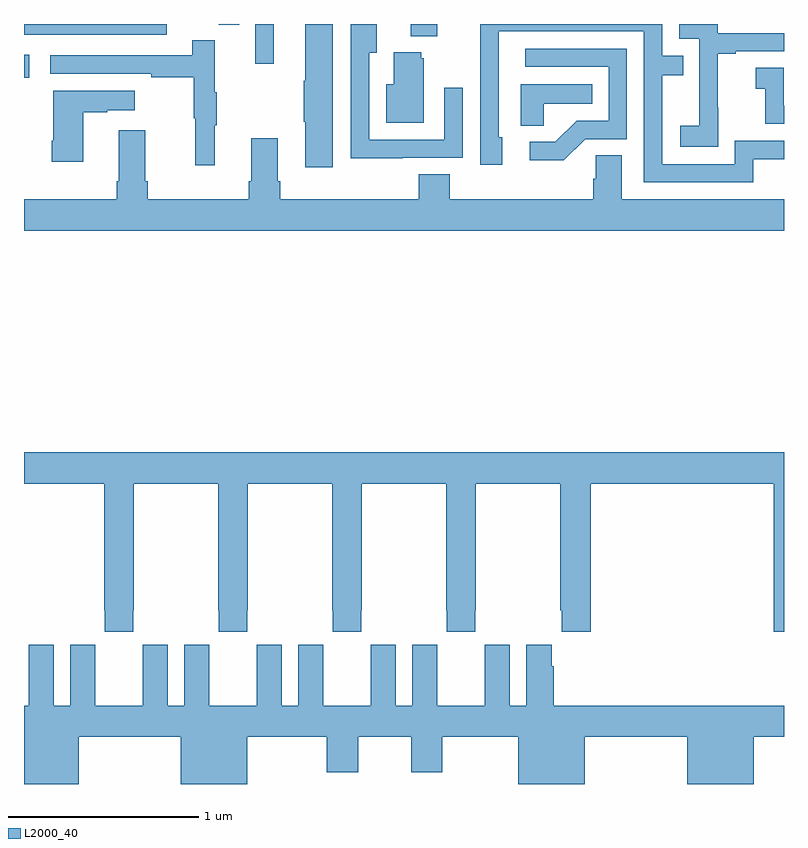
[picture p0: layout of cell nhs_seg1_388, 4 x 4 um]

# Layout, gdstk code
import gdstk
lib = gdstk.Library(unit=1e-6, precision=1e-09)
def R(c, l, rs):  # rectangles x0, y0, x1, y1
    for r in rs: c.add(gdstk.rectangle(r[:2], r[2:], *l))
def P(c, l, *ps):  # polygons
    for p in ps: c.add(gdstk.Polygon(p, *l))
L2000_40 = (2000, 40)

nhs_seg1_388 = lib.new_cell('nhs_seg1_388')
R(nhs_seg1_388, L2000_40, [(133,505.917,133.027,506.038), (134.217,505.989,134.314,506.199), (135.035,506.135,135.175,506.199), (133,506.142,133.752,506.199), (134.024,506.194,134.132,506.199)])
P(nhs_seg1_388, L2000_40, [(136.653,505.759),(136.652,505.759),(136.652,506.043),(136.747,506.043),(136.747,506.055),(137,506.055),(137,506.151),(136.65,506.151),(136.65,506.199),(136.449,506.199),(136.449,506.121),(136.554,506.121),(136.554,505.892),(136.553,505.892),(136.553,505.663),(136.455,505.663),(136.455,505.553),(136.653,505.553)],
  [(136.837,505.488),(137,505.488),(137,505.584),(136.74,505.584),(136.74,505.461),(136.359,505.461),(136.359,505.93),(136.469,505.93),(136.469,506.031),(136.359,506.031),(136.359,506.199),(135.4,506.199),(135.4,505.951),(135.402,505.951),(135.402,505.458),(135.517,505.458),(135.517,505.602),(135.498,505.602),(135.498,506.16),(136.263,506.16),(136.263,505.365),(136.837,505.365)],
  [(134.993,505.494),(135.309,505.494),(135.309,505.864),(135.213,505.864),(135.213,505.59),(134.817,505.59),(134.817,506.047),(134.857,506.047),(134.857,506.199),(134.721,506.199),(134.721,505.493),(134.993,505.493)],
  [(134.626,506.199),(134.48,506.199),(134.48,505.901),(134.473,505.901),(134.473,505.684),(134.48,505.684),(134.48,505.446),(134.626,505.446)],
  [(134.003,505.667),(134.014,505.667),(134.014,505.841),(134.003,505.841),(134.003,506.113),(133.885,506.113),(133.885,506.034),(133.137,506.034),(133.137,505.938),(133.669,505.938),(133.669,505.918),(133.893,505.918),(133.893,505.704),(133.9,505.704),(133.9,505.455),(134.003,505.455)],
  [(135.954,505.593),(136.173,505.593),(136.173,506.07),(135.639,506.07),(135.639,505.974),(136.077,505.974),(136.077,505.689),(135.908,505.689),(135.797,505.578),(135.663,505.578),(135.663,505.481),(135.841,505.481)],
  [(135.103,506.019),(135.092,506.019),(135.092,506.05),(134.945,506.05),(134.945,505.882),(134.906,505.882),(134.906,505.679),(135.103,505.679)],
  [(137,505.77),(136.998,505.77),(136.998,505.969),(136.851,505.969),(136.851,505.859),(136.9,505.859),(136.9,505.674),(137,505.674)],
  [(135.735,505.778),(135.992,505.778),(135.992,505.882),(135.614,505.882),(135.614,505.663),(135.735,505.663)],
  [(133.312,505.735),(133.439,505.735),(133.439,505.745),(133.582,505.745),(133.582,505.849),(133.154,505.849),(133.154,505.585),(133.147,505.585),(133.147,505.473),(133.312,505.473)],
  [(137,505.276),(136.147,505.276),(136.147,505.508),(136.008,505.508),(136.008,505.385),(135.995,505.385),(135.995,505.276),(135.242,505.276),(135.242,505.409),(135.077,505.409),(135.077,505.276),(134.348,505.276),(134.348,505.372),(134.335,505.372),(134.335,505.597),(134.195,505.597),(134.195,505.372),(134.183,505.372),(134.183,505.276),(133.652,505.276),(133.652,505.372),(133.639,505.372),(133.639,505.639),(133.499,505.639),(133.499,505.372),(133.487,505.372),(133.487,505.276),(133,505.276),(133,505.112),(137,505.112)],
  [(133,503.78),(133.423,503.78),(133.423,503.113),(133.425,503.113),(133.425,503.001),(133.575,503.001),(133.575,503.113),(133.578,503.113),(133.578,503.78),(134.023,503.78),(134.023,503.113),(134.025,503.113),(134.025,503.001),(134.175,503.001),(134.175,503.113),(134.178,503.113),(134.178,503.78),(134.623,503.78),(134.623,503.113),(134.625,503.113),(134.625,503.001),(134.775,503.001),(134.775,503.113),(134.778,503.113),(134.778,503.78),(135.223,503.78),(135.223,503.113),(135.225,503.113),(135.225,503.001),(135.375,503.001),(135.375,503.113),(135.378,503.113),(135.378,503.78),(135.823,503.78),(135.823,503.113),(135.829,503.113),(135.829,503.001),(135.983,503.001),(135.983,503.78),(136.946,503.78),(136.946,503.001),(137,503.001),(137,503.944),(133,503.944)],
  [(133.288,502.448),(133.826,502.448),(133.826,502.199),(134.176,502.199),(134.176,502.448),(134.594,502.448),(134.594,502.26),(134.758,502.26),(134.758,502.448),(135.038,502.448),(135.038,502.26),(135.202,502.26),(135.202,502.448),(135.602,502.448),(135.602,502.199),(135.952,502.199),(135.952,502.448),(136.49,502.448),(136.49,502.199),(136.84,502.199),(136.84,502.448),(137,502.448),(137,502.612),(135.788,502.612),(135.788,502.82),(135.778,502.82),(135.778,502.933),(135.644,502.933),(135.644,502.612),(135.556,502.612),(135.556,502.933),(135.426,502.933),(135.426,502.82),(135.425,502.82),(135.425,502.612),(135.175,502.612),(135.175,502.82),(135.174,502.82),(135.174,502.933),(135.044,502.933),(135.044,502.612),(134.956,502.612),(134.956,502.933),(134.826,502.933),(134.826,502.82),(134.825,502.82),(134.825,502.612),(134.575,502.612),(134.575,502.82),(134.574,502.82),(134.574,502.933),(134.444,502.933),(134.444,502.612),(134.356,502.612),(134.356,502.933),(134.226,502.933),(134.226,502.82),(134.225,502.82),(134.225,502.612),(133.975,502.612),(133.975,502.82),(133.974,502.82),(133.974,502.933),(133.844,502.933),(133.844,502.612),(133.756,502.612),(133.756,502.933),(133.626,502.933),(133.626,502.82),(133.625,502.82),(133.625,502.612),(133.375,502.612),(133.375,502.82),(133.374,502.82),(133.374,502.933),(133.244,502.933),(133.244,502.612),(133.156,502.612),(133.156,502.933),(133.026,502.933),(133.026,502.82),(133.025,502.82),(133.025,502.612),(133,502.612),(133,502.199),(133.288,502.199)])

lib.write_gds('nhs_seg1_388.gds')
